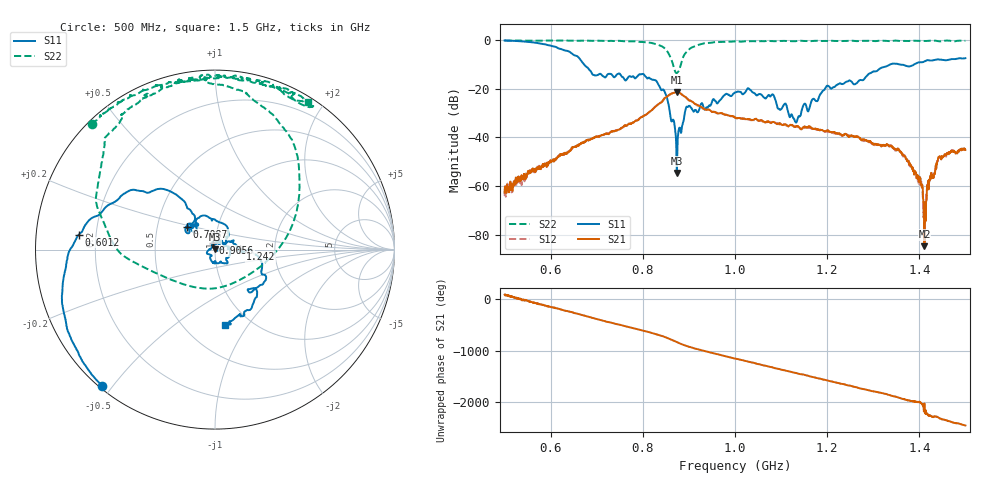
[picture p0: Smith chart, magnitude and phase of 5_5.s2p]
!Agilent Technologies,E8364B,US42250235,A.06.04.32
!Agilent E8364B: A.06.04.32
!Date: Friday, January 15, 2021 16:18:40
!Correction: S11(Full 2 Port(1,2)) S21(Full 2 Port(1,2)) S12(Full 2 Port(1,2)) S22(Full 2 Port(1,2))
!S2P File: Measurements: S11, S21, S12, S22:
# Hz S  dB  R 50
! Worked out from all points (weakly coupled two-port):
!   1601 points, 500 MHz to 1.5 GHz, reference 50 ohm
!   highest |S21| = -21.42 dB at 873.8 MHz (marker M1); lowest = -84.7 dB at 1.411 GHz (marker M2)
!   lowest |S11| = -54.6 dB at 873.8 MHz (marker M3), VSWR 1.00, Z = 50.2 + j0.0633 ohm
!   |S11| at or under -10 dB: 672.4 MHz to 1.337 GHz (664.5 MHz wide, 66.1 % of centre); 1.358 GHz to 1.388 GHz (30.21 MHz wide, 2.2 % of centre)
!   |S22| runs from -13.5 to -0.1 dB; largest |S21 - S12| = 0.002
!   S11 on the Smith chart (normalised r, x): 500 MHz: 0.01, -0.47; 601.2 MHz: 0.13, +0.05; 708.8 MHz: 0.71, +0.19; 905.6 MHz: 0.98, +0.07; 1.242 GHz: 1.33, +0.01; 1.5 GHz: 0.77, -0.79
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5e8  -0.12 -129.6  -62.70 89.9  -64.00 94.6  -0.16 134.5
6.0125e8  -2.35 173.7  -49.83 -154.7  -49.67 -148.0  -0.19 123.5
6.66875e8  -8.66 124.9  -42.27 58.3  -42.47 58.2  -0.22 113.8
7.0875e8  -13.94 140.3  -39.25 -45.0  -39.10 -44.1  -0.27 109.9
8.3375e8  -18.26 52.8  -26.32 27.4  -26.33 28.2  -1.93 64.3
8.56875e8  -27.46 8.4  -22.52 -45.5  -22.62 -45.2  -5.85 26.3
8.7375e8  -54.59 19.8  -21.42 -111.1  -21.43 -110.4  -13.51 -77.5
8.95e8  -27.34 105.2  -23.80 171.0  -23.78 172.4  -4.83 175.8
9.05625e8  -28.09 105.4  -25.14 143.2  -25.28 143.7  -3.05 159.4
9.3125e8  -27.38 53.0  -28.09 79.3  -28.33 80.5  -1.35 136.0
1e9  -21.56 -0.2  -31.89 -72.3  -31.69 -72.2  -0.48 113.5
1.08125e9  -22.30 -89.7  -33.67 117.0  -33.73 115.2  -0.43 101.9
1.13125e9  -33.71 144.5  -35.71 10.2  -35.33 9.1  -0.42 92.4
1.166875e9  -24.64 64.1  -36.34 -67.8  -36.23 -65.9  -0.35 88.6
1.241875e9  -17.08 2.0  -38.73 132.7  -38.97 136.2  -0.31 80.9
1.33375e9  -10.31 -27.1  -43.25 -57.0  -43.63 -53.1  -0.38 73.8
1.35875e9  -10.03 -42.4  -45.99 -119.5  -45.74 -119.6  -0.37 73.4
1.3975e9  -9.19 -47.9  -57.26 158.4  -58.14 168.7  -0.31 68.9
1.41125e9  -8.72 -54.1  -84.68 135.0  -76.21 -54.7  -0.33 65.2
1.421875e9  -8.35 -61.5  -57.83 -99.5  -58.02 -89.6  -0.24 63.2
1.44375e9  -7.98 -68.3  -47.82 -152.1  -48.38 -156.5  -0.51 64.0
1.5e9  -7.41 -82.1  -45.06 68.1  -44.96 62.7  -0.25 57.8
